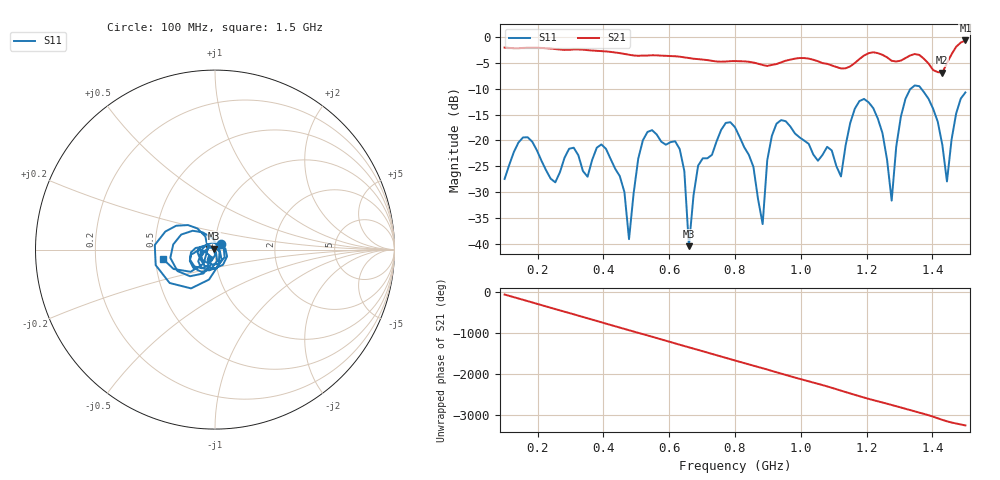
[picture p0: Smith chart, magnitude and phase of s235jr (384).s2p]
! NanoVNA-App
! Date: 2025-09-25 15:07:09
! Start: 100MHz Stop: 1,5GHz Points: 101
! S-Parameter data: F S11 S21 S12 S22
# Hz S RI R 50
!  Frequency  S11_Real  S11_Imag  S21_Real  S21_Imag  S12_Real  S12_Imag  S22_Real  S22_Imag
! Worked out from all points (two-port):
!   101 points, 100 MHz to 1.5 GHz, reference 50 ohm
!   highest |S21| = -0.59 dB at 1.5 GHz (marker M1); lowest = -6.8 dB at 1.43 GHz (marker M2)
!   |S21| within 3 dB of the highest: start of sweep to 595.4 MHz; 1.191 GHz to 1.254 GHz (63.44 MHz wide, 5.19 % of centre) (the widest 2 of 4)
!   lowest |S11| = -40.5 dB at 660 MHz (marker M3), VSWR 1.02, Z = 49.3 + j0.593 ohm
!   |S11| at or under -10 dB: start of sweep to 1.333 GHz; 1.366 GHz to end of sweep
!   S12 and S22 are empty: the file has one direction only
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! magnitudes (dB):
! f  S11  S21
! 100 MHz  -27.5  -2.0
! 156 MHz  -19.4  -2.0
! 338 MHz  -25.9  -2.4
! 408 MHz  -21.6  -2.7
! 478 MHz  -39.1  -3.4
! 520 MHz  -20.0  -3.5
! 576 MHz  -20.2  -3.5
! 632 MHz  -21.7  -3.7
! 660 MHz  -40.5  -4.0
! 688 MHz  -24.9  -4.2
! 800 MHz  -17.4  -4.6
! 884 MHz  -36.2  -5.3
! 926 MHz  -16.8  -5.2
! 1.038 GHz  -22.7  -4.3
! 1.122 GHz  -27.0  -6.0
! 1.192 GHz  -11.9  -3.5
! 1.248 GHz  -18.6  -3.4
! 1.276 GHz  -31.7  -4.5
! 1.332 GHz  -10.1  -3.5
! 1.43 GHz  -20.9  -6.8
! 1.444 GHz  -28.0  -5.0
! 1.5 GHz  -10.7  -0.6
